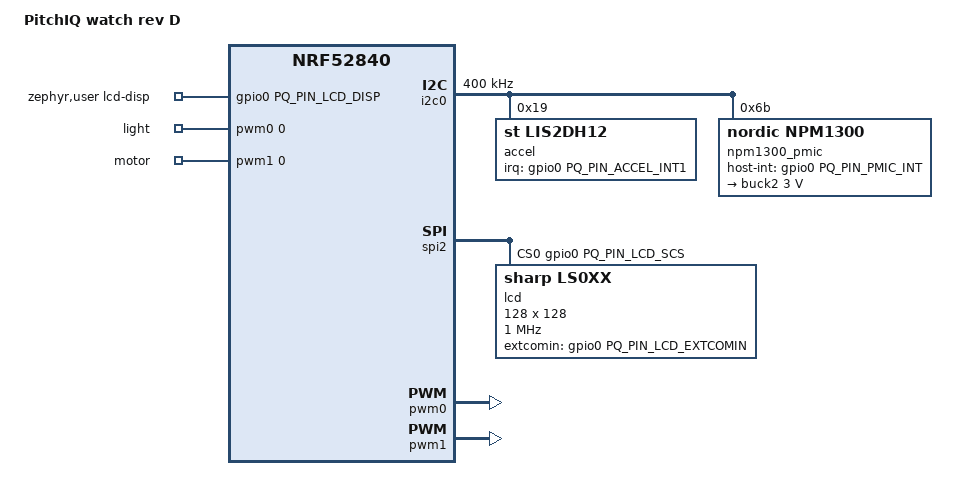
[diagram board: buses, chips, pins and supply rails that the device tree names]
/*
 * PitchIQ watch rev D: nRF52840 (QIAA) in a Raytac MDBT50Q module, Sharp memory LCD, LIS2DH12, nPM1300 (no heart-rate sensor, no 5 V boost).
 * Pin numbers live in pitchiq_watch-pinctrl.dtsi (PQ_PIN_*); this file refers to them by name.
 *
 * SPDX-License-Identifier: Apache-2.0
 */

/dts-v1/;
#include <nordic/nrf52840_qiaa.dtsi>
#include "pitchiq_watch-pinctrl.dtsi"
#include <zephyr/dt-bindings/pwm/pwm.h>
#include <zephyr/dt-bindings/regulator/npm13xx.h>
#include <zephyr/dt-bindings/sensor/lis2dh.h>

/ {
	model = "PitchIQ watch rev D";
	compatible = "pitchiq,watch-rev-c";

	chosen {
		/* No console and no shell: logging is SEGGER RTT only (see the defconfig).  The LCD is the display. */
		zephyr,display = &lcd;
		zephyr,sram = &sram0;
		zephyr,flash = &flash0;
		zephyr,code-partition = &slot0_partition;
	};

	/* Things the application finds through DT_PATH(zephyr_user): they are not worth a driver node of their own. */
	zephyr,user {
		/* Frontlight LED, active high, PWM0 channel 0 on PQ_PIN_LIGHT_PWM.  1 kHz.
		 * ASSUMPTION: the LED sits behind a transistor that is on when the pin is high (flagged in the schematic as
		 * "active high"); no flicker problem at 1 kHz for a still LED; the duty chosen in ui.c is a guess to tune. */
		/* Vibration motor, active high, low-side MOSFET, PWM1 channel 0 on PQ_PIN_MOTOR_PWM.  20 kHz so it is quiet.
		 * (Both are entries of one "pwms" property, named "light" and "motor": a custom "<name>-pwms" needs its own cells name.)
		 * Rev C: the motor is an 8 mm coin ERM (rev B had a 10 mm part), same drive circuit.  It is wired from VSYS, NOT the
		 * 3.0 V rail: VSYS is about 3.1-4.2 V on battery and about 5 V when VBUS is present (USB Type-C).
		 * haptics.c caps the PWM duty to give about 3.0 V effective (scaled by the last battery sample, lower again when VBUS
		 * is present).  A flyback diode is fitted across it.
		 * ASSUMPTION: the 8 mm part is also rated 3 V (carried over from the 10 mm part's cap, check its datasheet), and
		 * neither the duty cap nor the diode can be checked from firmware. */
		pwms = <&pwm0 0 PWM_USEC(1000) PWM_POLARITY_NORMAL>,
		       <&pwm1 0 PWM_USEC(50) PWM_POLARITY_NORMAL>;
		pwm-names = "light", "motor";
		/* LCD DISP (P0.22), active high.  Deliberately NOT given to the ls0xx driver (no disp-en-gpios there): that
		 * driver raises DISP before it sends the all-clear, but the LS013B7DH03 needs the memory cleared first or it
		 * shows random pixels.  Without the property the driver clears the panel at init and leaves DISP alone; ui_init()
		 * then raises it.  Needs the panel to confirm the order. */
		lcd-disp-gpios = <&gpio0 PQ_PIN_LCD_DISP GPIO_ACTIVE_HIGH>;
	};

	aliases {
		watchdog0 = &wdt0;
		accel0 = &accel;
	};
};

&reg1 {
	/* REG1 is the nRF52840 DC/DC regulator for the stage 1.  Enabled (the inductor is in the module).  ASSUMPTION: the
	 * module's DC/DC inductor and capacitor are fitted: the MDBT50Q has them. */
	regulator-initial-mode = <NRF5X_REG_MODE_DCDC>;
};

&gpiote {
	status = "okay";
};

&gpio0 {
	status = "okay";
};

&gpio1 {
	status = "okay";
};

&uicr {
	/* ASSUMPTION: P0.18 is brought out to the SWD programming pads (SWD only on rev C, no charge pad) as nRESET, as on the MDBT50Q reference design. */
	gpio-as-nreset;
};

&i2c0 {
	compatible = "nordic,nrf-twim";
	status = "okay";
	clock-frequency = <I2C_BITRATE_FAST>;
	pinctrl-0 = <&i2c0_default>;
	pinctrl-1 = <&i2c0_sleep>;
	pinctrl-names = "default", "sleep";

	/* Accelerometer.  ASSUMPTION: SA0 is tied high (address 0x19), INT1 is the only interrupt line wired, and
	 * the part sits on the always-on 3.0 V rail (BUCK2). */
	accel: lis2dh12@19 {
		compatible = "st,lis2dh12", "st,lis2dh";
		reg = <0x19>;
		irq-gpios = <&gpio0 PQ_PIN_ACCEL_INT1 GPIO_ACTIVE_HIGH>;
		anym-on-int1;
	};

	/* nPM1300 power management chip.  BUCK2 is the system rail.  The user button is wired to its SHPHLD pin, so a
	 * press arrives as an nPM1300 event on the host interrupt line, not as a GPIO key. */
	npm1300_pmic: pmic@6b {
		compatible = "nordic,npm1300";
		reg = <0x6b>;
		/* ASSUMPTION: nPM1300 GPIO1 is the pin routed to the nRF52840 P0.06 as the interrupt output. */
		pmic-int-pin = <1>;
		host-int-gpios = <&gpio0 PQ_PIN_PMIC_INT GPIO_ACTIVE_HIGH>;
		/* Ship mode: a press of at least this long on SHPHLD wakes the part from ship mode (power_ship() in
		 * power.c enters it).  1 s so a stray touch does not turn the watch on. */
		ship-to-active-time-ms = <1008>;
		/* Holding the button this long with the firmware hung power-cycles the watch (hardware, not firmware).  The
		 * firmware's own 5 s "forget pairing" gesture is shorter, so they do not collide. */
		long-press-reset = "one-button";

		npm1300_regulators: regulators {
			compatible = "nordic,npm1300-regulator";

			/* BUCK1 is NOT used and deliberately has NO node here. VSET1 is tied to ground, so the chip leaves
			 * BUCK1 off at start-up, and rev D fits no inductor or output capacitor on it (as in Nordic's one-buck
			 * reference configuration): pins VOUT1 and SW1 are open. Never enable it. Because no BUCK1 child node
			 * exists, the regulator driver does not initialise it and the application cannot look it up
			 * (nothing in app/ refers to buck1). */

			/* System rail 3.0 V, always on: set at start-up by a 150 k resistor on VSET2, the nRF52840 is already
			 * running from it before this code executes; the firmware only confirms it.  The PMIC's VDDIO is tied to
			 * this rail. */
			buck2: BUCK2 {
				regulator-min-microvolt = <3000000>;
				regulator-max-microvolt = <3000000>;
				regulator-init-microvolt = <3000000>;
				regulator-always-on;
			};
		};

		/* 150 mAh cell: 4.20 V termination, 75 mA charge current (0.5 C), 10 k NTC.
		 * The nPM1300 comes up with charging OFF, charge current 32 mA and the VBUS input limit 100 mA.  The Zephyr
		 * charger driver writes the values below and sets the enable bit at its init, so charging is configured at
		 * every boot, in firmware, with no other code needed.  A flat battery still recovers: VBUS feeds VSYS
		 * through the PMIC power path, so the MCU boots from cable power alone and then runs this init. Until it does,
		 * the chip's defaults (32 mA, 100 mA) apply and nothing charges, which is safe.
		 * ASSUMPTION: the NTC beta is 3380 K (typical for the 10 k part, check the datasheet of the fitted one).
		 * Rev C: charging is through a USB Type-C receptacle, CC1/CC2 straight to the nPM1300 (internal 5.1 k Rd).  The
		 * input limit stays at the chip default of 100 mA (default USB) until power.c has read the USB-C detect status
		 * register and seen a source that advertises 1.5 A or 3 A; only then does it write 500 mA (power.c).  The
		 * vbus-limit-microamp below is the start-up limit (VBUSINILIMSTARTUP), so it must stay 100 mA. */
		npm1300_charger: charger {
			compatible = "nordic,npm1300-charger";
			term-microvolt = <4200000>;
			term-warm-microvolt = <4000000>;
			current-microamp = <75000>;
			/* 1 A (the nPM1300 high setting): the 200 mA low setting is below the 150-240 mA worst case (motor + radio + LED)
			 * and a trip browns the system out.  Firmware review 6.  power.c DISCHG_LIMIT must match. */
			dischg-limit-microamp = <1000000>;
			vbus-limit-microamp = <100000>;
			thermistor-ohms = <10000>;
			thermistor-beta = <3380>;
			charging-enable;
		};
	};
};

&spi2 {
	compatible = "nordic,nrf-spim";
	status = "okay";
	/* SCS is active high. */
	cs-gpios = <&gpio0 PQ_PIN_LCD_SCS GPIO_ACTIVE_HIGH>;
	pinctrl-0 = <&spi2_default>;
	pinctrl-1 = <&spi2_sleep>;
	pinctrl-names = "default", "sleep";

	lcd: ls013b7dh03@0 {
		compatible = "sharp,ls0xx";
		reg = <0>;
		spi-max-frequency = <1000000>;
		width = <128>;
		height = <128>;
		/* Datasheet: EXTCOMIN must be 54..65 Hz for this panel, SCLK at most 1.1 MHz, SCS active high, EXTMODE
		 * strapped high on the board (so EXTCOMIN, not the serial VCOM bit, does the inversion).  The driver toggles
		 * EXTCOMIN on its own thread. */
		extcomin-gpios = <&gpio0 PQ_PIN_LCD_EXTCOMIN GPIO_ACTIVE_HIGH>;
		extcomin-frequency = <60>;
	};
};

/* Frontlight. */
&pwm0 {
	status = "okay";
	pinctrl-0 = <&pwm0_default>;
	pinctrl-1 = <&pwm0_sleep>;
	pinctrl-names = "default", "sleep";
};

/* Vibration motor (own PWM instance because the period differs from the frontlight's). */
&pwm1 {
	status = "okay";
	pinctrl-0 = <&pwm1_default>;
	pinctrl-1 = <&pwm1_sleep>;
	pinctrl-names = "default", "sleep";
};

/*
 * Internal 1 MB flash for MCUboot with swap-using-move, no scratch partition:
 *   0x00000  boot      48 KB   MCUboot
 *   0x0c000  slot0    480 KB   running image
 *   0x84000  slot1    480 KB   update image (same size; swap-using-move needs the primary slot's last sector)
 *   0xfc000  storage   16 KB   settings (NVS, 4 x 4 KB sectors): Bluetooth bonds; does not overlap the slots (slot1 ends at 0xfc000)
 */
&flash0 {
	partitions {
		ranges;
		#address-cells = <1>;
		#size-cells = <1>;

		boot_partition: partition@0 {
			compatible = "zephyr,mapped-partition";
			label = "mcuboot";
			reg = <0x00000000 0x0000c000>;
		};

		slot0_partition: partition@c000 {
			compatible = "zephyr,mapped-partition";
			label = "image-0";
			reg = <0x0000c000 0x00078000>;
		};

		slot1_partition: partition@84000 {
			compatible = "zephyr,mapped-partition";
			label = "image-1";
			reg = <0x00084000 0x00078000>;
		};

		storage_partition: partition@fc000 {
			compatible = "zephyr,mapped-partition";
			label = "storage";
			reg = <0x000fc000 0x00004000>;
		};
	};
};
